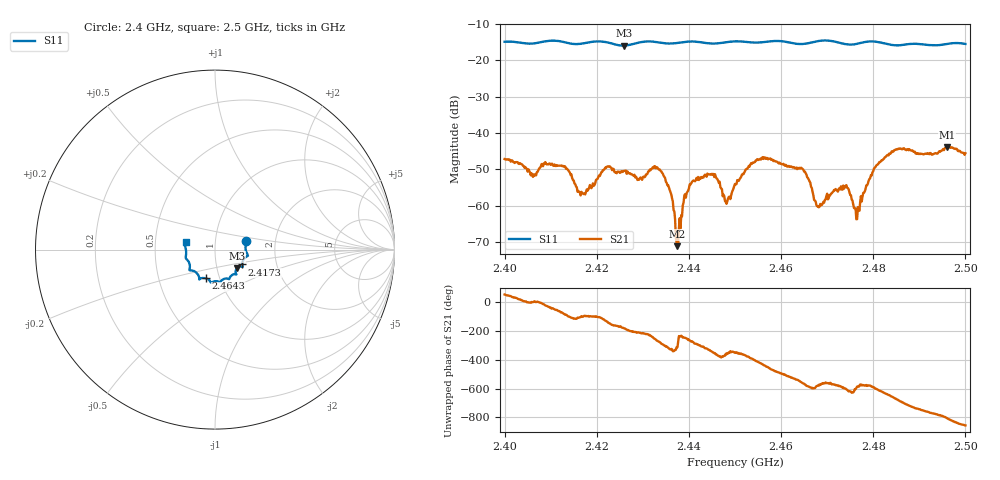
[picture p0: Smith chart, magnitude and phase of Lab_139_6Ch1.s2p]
# Hz S RI R 50
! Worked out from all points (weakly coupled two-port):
!   601 points, 2.4 GHz to 2.5 GHz, reference 50 ohm
!   highest |S21| = -43.85 dB at 2.496 GHz (marker M1); lowest = -71.2 dB at 2.4375 GHz (marker M2)
!   lowest |S11| = -15.9 dB at 2.4258 GHz (marker M3), VSWR 1.38, Z = 62.2 - j13.3 ohm
!   |S11| at or under -10 dB: start of sweep to end of sweep
!   S12 and S22 are empty: the file has one direction only
!   S11 on the Smith chart (normalised r, x): 2.4 GHz: 1.41, +0.14; 2.4173 GHz: 1.34, -0.23; 2.4643 GHz: 0.86, -0.28; 2.5 GHz: 0.72, +0.06
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2.4e9  0.1736 0.0495  0.00265 0.00347  0 0  0 0
2.412667e9  0.1758 -0.0392  0.000817 -0.00342  0 0  0 0
2.416667e9  0.1525 -0.075  -0.000204 -0.00153  0 0  0 0
2.417333e9  0.1518 -0.0825  -0.000112 -0.00145  0 0  0 0
2.422333e9  0.15 -0.0939  -0.0025 -0.00236  0 0  0 0
2.425833e9  0.1213 -0.1039  -0.003 2.15e-05  0 0  0 0
2.433333e9  0.1125 -0.1365  0.000126 0.00319  0 0  0 0
2.436e9  0.0939 -0.1428  0.00131 0.000801  0 0  0 0
2.4375e9  0.0847 -0.1516  0.000189 0.0002  0 0  0 0
2.440667e9  0.0787 -0.1643  5.06e-05 0.00212  0 0  0 0
2.445167e9  0.0538 -0.162  0.00262 0.000555  0 0  0 0
2.448333e9  0.0339 -0.1755  0.00113 0.000138  0 0  0 0
2.45e9  0.0294 -0.1807  0.00196 0.000276  0 0  0 0
2.456e9  -0.00694 -0.1779  0.00144 -0.00441  0 0  0 0
2.464333e9  -0.0502 -0.1603  -0.00322 0.000837  0 0  0 0
2.466667e9  -0.0762 -0.1595  -0.000929 0.00148  0 0  0 0
2.468333e9  -0.0861 -0.1649  -0.000766 0.000582  0 0  0 0
2.474e9  -0.0976 -0.1361  -0.000924 0.00162  0 0  0 0
2.4765e9  -0.1219 -0.1177  -0.000448 0.000468  0 0  0 0
2.483333e9  -0.1402 -0.0893  0.00125 0.00475  0 0  0 0
2.496e9  -0.1672 0.0198  0.000585 -0.0064  0 0  0 0
2.5e9  -0.1634 0.0418  -0.00376 -0.00366  0 0  0 0
